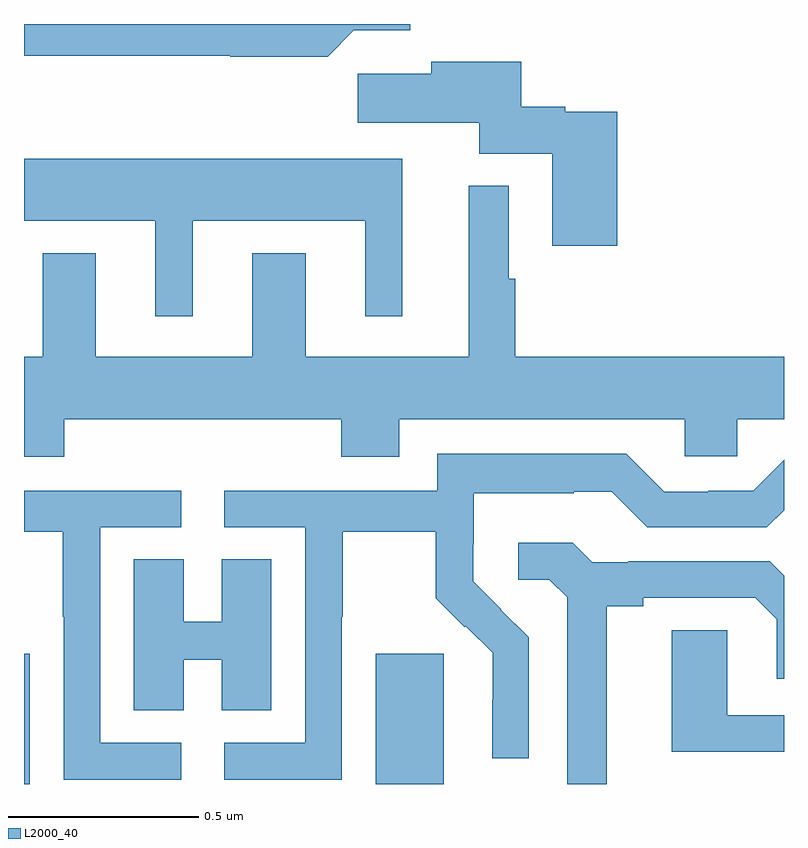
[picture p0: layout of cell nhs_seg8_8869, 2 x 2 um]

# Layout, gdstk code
import gdstk
lib = gdstk.Library(unit=1e-6, precision=1e-09)
def R(c, l, rs):  # rectangles x0, y0, x1, y1
    for r in rs: c.add(gdstk.rectangle(r[:2], r[2:], *l))
def P(c, l, *ps):  # polygons
    for p in ps: c.add(gdstk.Polygon(p, *l))
L2000_40 = (2000, 40)

nhs_seg8_8869 = lib.new_cell('nhs_seg8_8869')
R(nhs_seg8_8869, L2000_40, [(229,1088.9,229.015,1089.243), (229.925,1088.9,230.104,1089.243)])
P(nhs_seg8_8869, L2000_40, [(229.868,1090.883),(230.017,1090.883),(230.017,1090.9),(229,1090.9),(229,1090.816),(229.543,1090.816),(229.543,1090.814),(229.799,1090.814)],
  [(230.561,1090.669),(230.424,1090.669),(230.424,1090.682),(230.308,1090.682),(230.308,1090.801),(230.072,1090.801),(230.072,1090.769),(229.878,1090.769),(229.878,1090.64),(230.198,1090.64),(230.198,1090.559),(230.39,1090.559),(230.39,1090.317),(230.561,1090.317)],
  [(229.444,1090.382),(229.898,1090.382),(229.898,1090.131),(229.996,1090.131),(229.996,1090.546),(229,1090.546),(229,1090.382),(229.346,1090.382),(229.346,1090.131),(229.444,1090.131)],
  [(229.106,1089.86),(229.835,1089.86),(229.835,1089.761),(229.987,1089.761),(229.987,1089.86),(230.739,1089.86),(230.739,1089.762),(230.877,1089.762),(230.877,1089.86),(231,1089.86),(231,1090.024),(230.293,1090.024),(230.293,1090.229),(230.275,1090.229),(230.275,1090.474),(230.171,1090.474),(230.171,1090.024),(229.741,1090.024),(229.741,1090.297),(229.601,1090.297),(229.601,1090.024),(229.189,1090.024),(229.189,1090.297),(229.049,1090.297),(229.049,1090.024),(229,1090.024),(229,1089.761),(229.106,1089.761)],
  [(229.836,1089.34),(229.839,1089.34),(229.839,1089.564),(230.083,1089.564),(230.083,1089.389),(230.16,1089.312),(230.163,1089.315),(230.234,1089.245),(230.234,1089.122),(230.232,1089.122),(230.232,1088.968),(230.328,1088.968),(230.328,1089.286),(230.255,1089.359),(230.256,1089.36),(230.182,1089.434),(230.182,1089.531),(230.184,1089.531),(230.184,1089.665),(230.447,1089.665),(230.447,1089.669),(230.547,1089.669),(230.64,1089.576),(230.955,1089.576),(231,1089.621),(231,1089.753),(230.919,1089.672),(230.801,1089.672),(230.801,1089.669),(230.685,1089.669),(230.585,1089.769),(230.088,1089.769),(230.088,1089.672),(229.527,1089.672),(229.527,1089.576),(229.74,1089.576),(229.74,1089.009),(229.527,1089.009),(229.527,1088.911),(229.836,1088.911)],
  [(229.414,1089.009),(229.2,1089.009),(229.2,1089.576),(229.414,1089.576),(229.414,1089.672),(229,1089.672),(229,1089.564),(229.102,1089.564),(229.102,1089.34),(229.104,1089.34),(229.104,1088.911),(229.414,1088.911)],
  [(230.533,1089.368),(230.629,1089.368),(230.629,1089.39),(230.924,1089.39),(230.981,1089.333),(230.981,1089.177),(231,1089.177),(231,1089.448),(230.962,1089.486),(230.59,1089.486),(230.59,1089.483),(230.496,1089.483),(230.444,1089.535),(230.301,1089.535),(230.301,1089.438),(230.382,1089.438),(230.429,1089.391),(230.429,1088.9),(230.533,1088.9)],
  [(229.42,1089.227),(229.52,1089.227),(229.52,1089.094),(229.651,1089.094),(229.651,1089.491),(229.52,1089.491),(229.52,1089.327),(229.42,1089.327),(229.42,1089.491),(229.289,1089.491),(229.289,1089.094),(229.42,1089.094)],
  [(231,1089.081),(230.85,1089.081),(230.85,1089.305),(230.705,1089.305),(230.705,1088.985),(231,1088.985)])

lib.write_gds('nhs_seg8_8869.gds')
